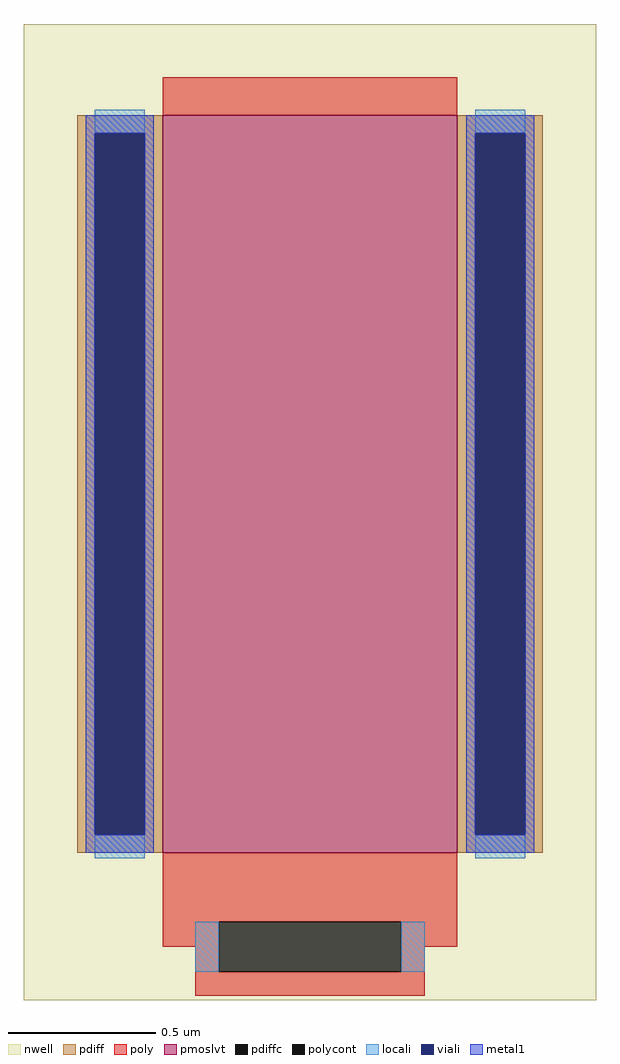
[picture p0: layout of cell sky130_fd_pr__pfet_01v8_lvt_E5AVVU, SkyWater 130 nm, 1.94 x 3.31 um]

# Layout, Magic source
magic
tech sky130A
magscale 1 2
<< nwell >>
rect -194 -314 194 348
<< pmoslvt >>
rect -100 -214 100 286
<< pdiff >>
rect -158 274 -100 286
rect -158 -202 -146 274
rect -112 -202 -100 274
rect -158 -214 -100 -202
rect 100 274 158 286
rect 100 -202 112 274
rect 146 -202 158 274
rect 100 -214 158 -202
<< pdiffc >>
rect -146 -202 -112 274
rect 112 -202 146 274
<< poly >>
rect -100 286 100 312
rect -100 -261 100 -214
rect -100 -278 -62 -261
rect -78 -295 -62 -278
rect 62 -278 100 -261
rect 62 -295 78 -278
rect -78 -311 78 -295
<< polycont >>
rect -62 -295 62 -261
<< locali >>
rect -146 274 -112 290
rect -146 -218 -112 -202
rect 112 274 146 290
rect 112 -218 146 -202
rect -78 -295 -62 -261
rect 62 -295 78 -261
<< viali >>
rect -146 -202 -112 274
rect 112 -202 146 274
<< metal1 >>
rect -152 274 -106 286
rect -152 -202 -146 274
rect -112 -202 -106 274
rect -152 -214 -106 -202
rect 106 274 152 286
rect 106 -202 112 274
rect 146 -202 152 274
rect 106 -214 152 -202
<< properties >>
string gencell sky130_fd_pr__pfet_01v8_lvt
string library sky130
string parameters w 2.5 l 1.0 m 1 nf 1 diffcov 100 polycov 74 guard 0 glc 1 grc 1 gtc 1 gbc 1 tbcov 100 rlcov 80 topc 0 botc 1 poverlap 0 doverlap 1 lmin 0.35 wmin 0.42 class mosfet compatible {sky130_fd_pr__pfet_01v8  sky130_fd_pr__pfet_01v8_lvt sky130_fd_pr__pfet_01v8_hvt  sky130_fd_pr__pfet_g5v0d10v5} full_metal 1 viasrc 100 viadrn 100 viagate 0 viagb 0 viagr 0 viagl 0 viagt 0
<< end >>
